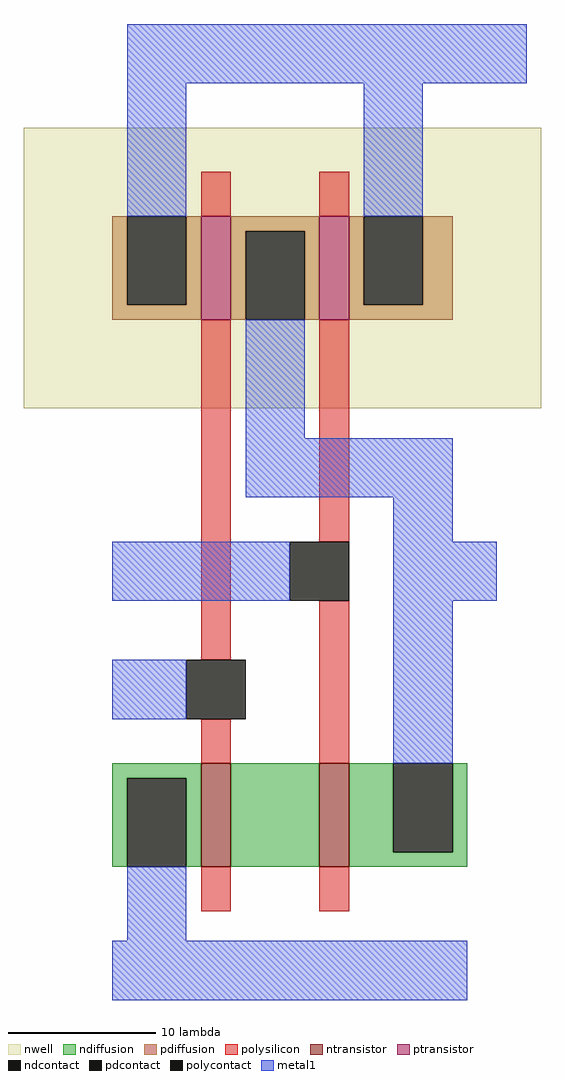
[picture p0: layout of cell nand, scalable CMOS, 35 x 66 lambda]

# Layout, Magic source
magic
tech scmos
<< nwell >>
rect -18 0 17 19
<< ntransistor >>
rect -6 -31 -4 -24
rect 2 -31 4 -24
<< ptransistor >>
rect -6 6 -4 13
rect 2 6 4 13
<< ndiffusion >>
rect -12 -25 -6 -24
rect -12 -31 -11 -25
rect -7 -31 -6 -25
rect -4 -31 2 -24
rect 4 -30 7 -24
rect 11 -30 12 -24
rect 4 -31 12 -30
<< pdiffusion >>
rect -12 7 -11 13
rect -7 7 -6 13
rect -12 6 -6 7
rect -4 12 2 13
rect -4 6 -3 12
rect 1 6 2 12
rect 4 7 5 13
rect 9 7 11 13
rect 4 6 11 7
<< ndcontact >>
rect -11 -31 -7 -25
rect 7 -30 11 -24
<< pdcontact >>
rect -11 7 -7 13
rect -3 6 1 12
rect 5 7 9 13
<< polysilicon >>
rect -6 13 -4 16
rect 2 13 4 16
rect -6 -17 -4 6
rect 2 -9 4 6
rect -6 -24 -4 -21
rect 2 -24 4 -13
rect -6 -34 -4 -31
rect 2 -34 4 -31
<< polycontact >>
rect 0 -13 4 -9
rect -7 -21 -3 -17
<< metal1 >>
rect -11 22 16 26
rect -11 13 -7 22
rect 5 13 9 22
rect -3 -2 1 6
rect -3 -6 11 -2
rect 7 -9 11 -6
rect -12 -13 0 -9
rect 7 -13 14 -9
rect -12 -21 -7 -17
rect 7 -24 11 -13
rect -11 -36 -7 -31
rect -12 -40 12 -36
<< end >>
